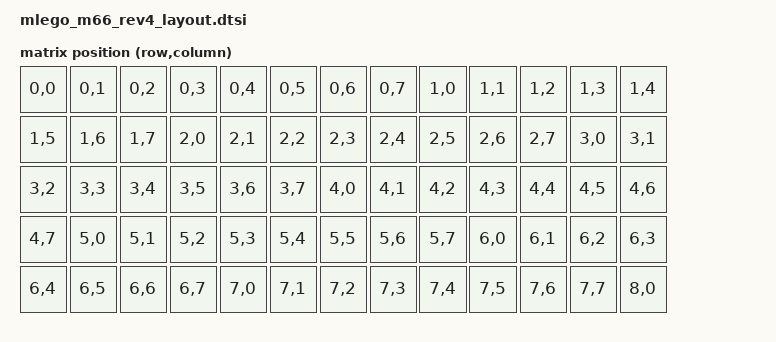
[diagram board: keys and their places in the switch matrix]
/*
 * Copyright (c) 2022-2024 alin m elena
 * SPDX-License-Identifier: MIT
 */

#include <dt-bindings/zmk/matrix_transform.h>
#include <physical_layouts.dtsi>

/ {
    m66_layout: m66_layout {
        compatible = "zmk,physical-layout";
        display-name = "m66 default layout";
        transform = <&m66>;
        keys  //                     w   h    x    y     rot    rx    ry
            = <&key_physical_attrs 100 100    0  100       0     0     0>
            , <&key_physical_attrs 100 100  100  100       0     0     0>
            , <&key_physical_attrs 100 100  200  100       0     0     0>
            , <&key_physical_attrs 100 100  300  100       0     0     0>
            , <&key_physical_attrs 100 100  400  100       0     0     0>
            , <&key_physical_attrs 100 100  500  100       0     0     0>
            , <&key_physical_attrs 100 100  600  100       0     0     0>
            , <&key_physical_attrs 100 100  700  100       0     0     0>
            , <&key_physical_attrs 100 100  800  100       0     0     0>
            , <&key_physical_attrs 100 100  900  100       0     0     0>
            , <&key_physical_attrs 100 100 1000  100       0     0     0>
            , <&key_physical_attrs 100 100 1100  100       0     0     0>
            , <&key_physical_attrs 100 100 1200  100       0     0     0>
            , <&key_physical_attrs 100 100    0    0       0     0     0>
            , <&key_physical_attrs 100 100    0  200       0     0     0>
            , <&key_physical_attrs 100 100  100  200       0     0     0>
            , <&key_physical_attrs 100 100  200  200       0     0     0>
            , <&key_physical_attrs 100 100  300  200       0     0     0>
            , <&key_physical_attrs 100 100  400  200       0     0     0>
            , <&key_physical_attrs 100 100  500  200       0     0     0>
            , <&key_physical_attrs 100 100  600  200       0     0     0>
            , <&key_physical_attrs 100 100  700  200       0     0     0>
            , <&key_physical_attrs 100 100  800  200       0     0     0>
            , <&key_physical_attrs 100 100  900  200       0     0     0>
            , <&key_physical_attrs 100 100 1000  200       0     0     0>
            , <&key_physical_attrs 100 100 1100  200       0     0     0>
            , <&key_physical_attrs 100 100 1200  200       0     0     0>
            , <&key_physical_attrs 100 100    0  300       0     0     0>
            , <&key_physical_attrs 100 100  100  300       0     0     0>
            , <&key_physical_attrs 100 100  200  300       0     0     0>
            , <&key_physical_attrs 100 100  300  300       0     0     0>
            , <&key_physical_attrs 100 100  400  300       0     0     0>
            , <&key_physical_attrs 100 100  500  300       0     0     0>
            , <&key_physical_attrs 100 100  600  300       0     0     0>
            , <&key_physical_attrs 100 100  700  300       0     0     0>
            , <&key_physical_attrs 100 100  800  300       0     0     0>
            , <&key_physical_attrs 100 100  900  300       0     0     0>
            , <&key_physical_attrs 100 100 1000  300       0     0     0>
            , <&key_physical_attrs 100 100 1100  300       0     0     0>
            , <&key_physical_attrs 100 100 1200  300       0     0     0>
            , <&key_physical_attrs 100 100    0  400       0     0     0>
            , <&key_physical_attrs 100 100  100  400       0     0     0>
            , <&key_physical_attrs 100 100  200  400       0     0     0>
            , <&key_physical_attrs 100 100  300  400       0     0     0>
            , <&key_physical_attrs 100 100  400  400       0     0     0>
            , <&key_physical_attrs 100 100  500  400       0     0     0>
            , <&key_physical_attrs 100 100  600  400       0     0     0>
            , <&key_physical_attrs 100 100  700  400       0     0     0>
            , <&key_physical_attrs 100 100  800  400       0     0     0>
            , <&key_physical_attrs 100 100  900  400       0     0     0>
            , <&key_physical_attrs 100 100 1000  400       0     0     0>
            , <&key_physical_attrs 100 100 1100  400       0     0     0>
            , <&key_physical_attrs 100 100 1200  400       0     0     0>
            , <&key_physical_attrs 100 100    0  500       0     0     0>
            , <&key_physical_attrs 100 100  100  500       0     0     0>
            , <&key_physical_attrs 100 100  200  500       0     0     0>
            , <&key_physical_attrs 100 100  300  500       0     0     0>
            , <&key_physical_attrs 100 100  400  500       0     0     0>
            , <&key_physical_attrs 100 100  500  500       0     0     0>
            , <&key_physical_attrs 100 100  600  500       0     0     0>
            , <&key_physical_attrs 100 100  700  500       0     0     0>
            , <&key_physical_attrs 100 100  800  500       0     0     0>
            , <&key_physical_attrs 100 100  900  500       0     0     0>
            , <&key_physical_attrs 100 100 1000  500       0     0     0>
            , <&key_physical_attrs 100 100 1100  500       0     0     0>
            , <&key_physical_attrs 100 100 1200  500       0     0     0>
            ;
   };

      m66: m66_0 {
            compatible = "zmk,matrix-transform";
            rows = <16>;
            columns = <8>;
            map = <
RC(0,0) RC(0,1) RC(0,2) RC(0,3) RC(0,4) RC(0,5) RC(0,6) RC(0,7) RC(1,0) RC(1,1) RC(1,2) RC(1,3) RC(1,4)
RC(1,5) RC(1,6) RC(1,7) RC(2,0) RC(2,1) RC(2,2) RC(2,3) RC(2,4) RC(2,5) RC(2,6) RC(2,7) RC(3,0) RC(3,1)
RC(3,2) RC(3,3) RC(3,4) RC(3,5) RC(3,6) RC(3,7) RC(4,0) RC(4,1) RC(4,2) RC(4,3) RC(4,4) RC(4,5) RC(4,6)
RC(4,7) RC(5,0) RC(5,1) RC(5,2) RC(5,3) RC(5,4) RC(5,5) RC(5,6) RC(5,7) RC(6,0) RC(6,1) RC(6,2) RC(6,3)
RC(6,4) RC(6,5) RC(6,6) RC(6,7) RC(7,0) RC(7,1) RC(7,2) RC(7,3) RC(7,4) RC(7,5) RC(7,6) RC(7,7) RC(8,0)
            >;
        };
};
